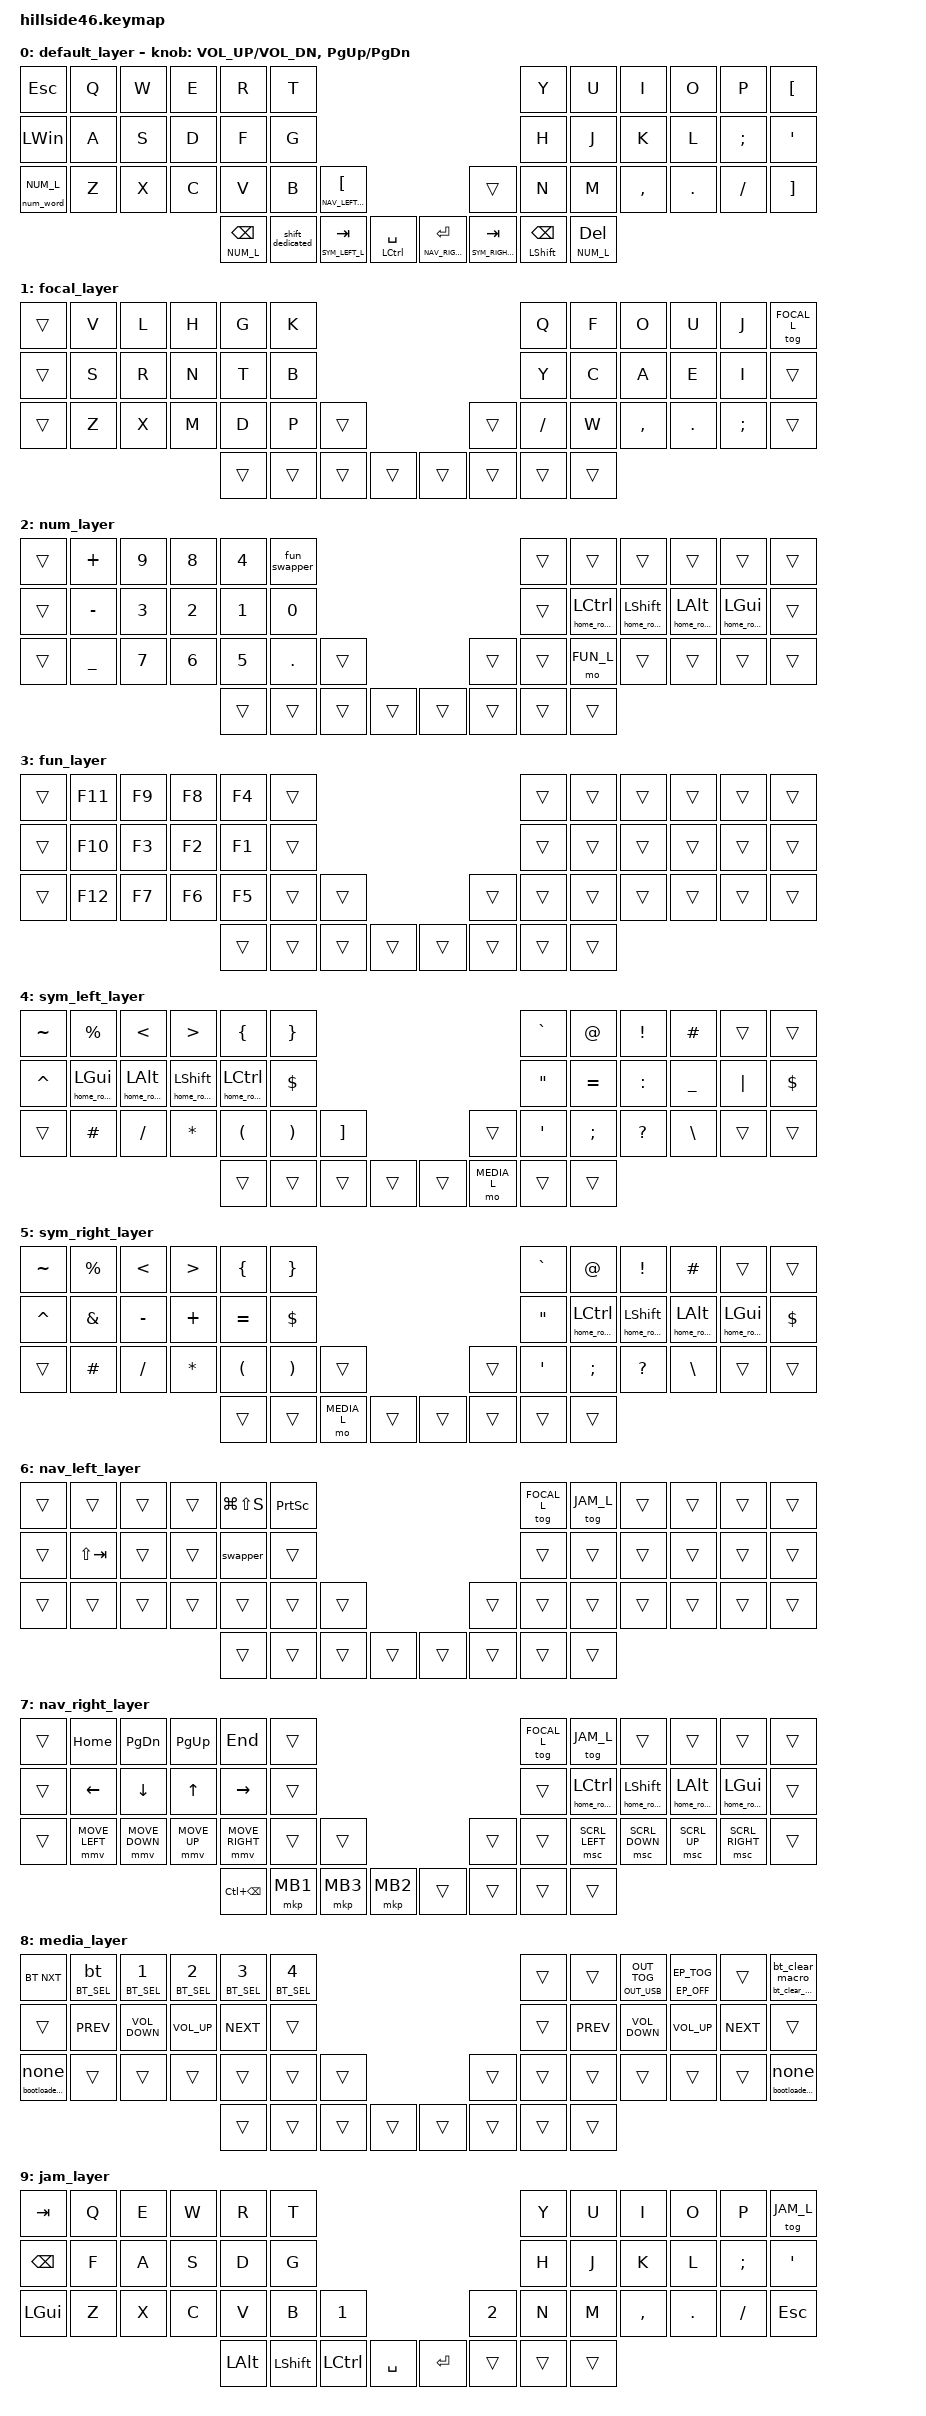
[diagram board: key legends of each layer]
/*
 * Copyright (c) 2021-2026 The ZMK Contributors
 *
 * SPDX-License-Identifier: MIT
 */

#include <dt-bindings/zmk/mouse.h>
#include <input/processors.dtsi>
#include <behaviors.dtsi>
#include <dt-bindings/zmk/bt.h>
#include <dt-bindings/zmk/ext_power.h>
#include <dt-bindings/zmk/keys.h>
#include <dt-bindings/zmk/outputs.h>
#include <dt-bindings/zmk/pointing.h>
#include <behaviors/num_word.dtsi>

#define QWERTY_L    0
#define FOCAL_L     1
#define NUM_L       2
#define FUN_L       3
#define SYM_LEFT_L  4
#define SYM_RIGHT_L 5
#define NAV_LEFT_L  6
#define NAV_RIGHT_L 7
#define MEDIA_L     8
#define JAM_L       9
#define Undo   LC(Z)
#define Cut    LC(X)
#define Copy   LC(C)
#define Paste  LC(V)
#define Redo   LC(Y)
#define DANGER_DELAY 3000

/ {
    behaviors {
        home_row_sticky: home_row_sticky {
            compatible = "zmk,behavior-sticky-key";
            label = "HOME_ROW_STICKY";
            bindings = <&kp>;
            #binding-cells = <1>;
            release-after-ms = <1000>;
            quick-release;
            ignore-modifiers;
        };

        shift_dedicated: shift_dedicated {
            compatible = "zmk,behavior-tap-dance";
            label = "SHIFT_DEDICATED";
            #binding-cells = <0>;
            bindings = <&sticky_shift LSHIFT>, <&caps_word>;
        };

        sticky_shift: sticky_shift {
            compatible = "zmk,behavior-sticky-key";
            label = "STICKY_SHIFT";
            bindings = <&sk>;
            #binding-cells = <1>;
            release-after-ms = <600>;
            quick-release;
            ignore-modifiers;
        };

        thumb_key_layer: thumb_key_layer {
            compatible = "zmk,behavior-hold-tap";
            label = "THUMB_KEY_LAYER";
            bindings = <&mo>, <&kp>;

            #binding-cells = <2>;
            tapping-term-ms = <250>;
            quick-tap-ms = <200>;
            require-prior-idle-ms = <30>;
        };

        thumb_key_mod: thumb_key_mod {
            compatible = "zmk,behavior-hold-tap";
            label = "THUMB_KEY_MOD";
            bindings = <&kp>, <&kp>;

            #binding-cells = <2>;
            tapping-term-ms = <250>;
            quick-tap-ms = <200>;
            require-prior-idle-ms = <0>;
            hold-while-undecided;
        };

        thumb_active_key_mod: thumb_active_key_mod {
            compatible = "zmk,behavior-hold-tap";
            label = "THUMB_ACTIVE_KEY_MOD";
            bindings = <&kp>, <&kp>;

            #binding-cells = <2>;
            tapping-term-ms = <250>;
            quick-tap-ms = <200>;
            require-prior-idle-ms = <30>;
            hold-while-undecided;
        };

        thumb_active_key_layer: thumb_active_key_layer {
            compatible = "zmk,behavior-hold-tap";
            label = "THUMB_ACTIVE_KEY_LAYER";
            bindings = <&mo>, <&kp>;

            #binding-cells = <2>;
            tapping-term-ms = <250>;
            quick-tap-ms = <200>;
            require-prior-idle-ms = <30>;
            hold-while-undecided;
        };

        swapper: swapper {
            compatible = "zmk,behavior-smart-toggle";
            #binding-cells = <0>;
            bindings = <&kp LALT>, <&kp TAB>;

            ignored-key-positions = <13>;
            // shift for both left and right symbol layers
        };

        fun_swapper: fun_swapper {
            compatible = "zmk,behavior-smart-toggle";
            #binding-cells = <0>;
            bindings = <&mo FUN_L>, <&none>;

            ignored-key-positions =
                <1>,
                <2>,
                <3>,
                <4>,
                <13>,
                <14>,
                <15>,
                <16>,
                <25>,
                <26>,
                <27>,
                <28>;

            // F-keys
        };

        bt_or_reset_hold: bt_or_reset_hold {
            compatible = "zmk,behavior-hold-tap";
            label = "BT_OR_RESET_HOLD";
            bindings = <&bt_clear_macro>, <&bt>;

            #binding-cells = <2>;
            tapping-term-ms = <DANGER_DELAY>;
            flavor = "tap-preferred";
        };

        bt_reset_hold: bt_reset_hold {
            compatible = "zmk,behavior-hold-tap";
            label = "BT_RESET_HOLD";
            bindings = <&bt_clear_all_macro>, <&bt_clear_macro>;

            #binding-cells = <2>;
            tapping-term-ms = <DANGER_DELAY>;
            flavor = "tap-preferred";
        };

        bootloader_reset_hold: bootloader_reset_hold {
            compatible = "zmk,behavior-hold-tap";
            label = "BOOTLOADER_RESET_HOLD";
            bindings = <&bootloader_reset_macro>, <&none>;

            #binding-cells = <2>;
            tapping-term-ms = <DANGER_DELAY>;
            flavor = "tap-preferred";
        };

        output_hold: output_hold {
            compatible = "zmk,behavior-hold-tap";
            label = "OUTPUT_HOLD";
            bindings = <&out>, <&out>;

            #binding-cells = <2>;
            flavor = "tap-preferred";
            tapping-term-ms = <DANGER_DELAY>;
        };

        ext_power_hold: ext_power_hold {
            compatible = "zmk,behavior-hold-tap";
            label = "EXT_POWER_HOLD";
            bindings = <&ext_power>, <&ext_power>;

            #binding-cells = <2>;
            tapping-term-ms = <DANGER_DELAY>;
            flavor = "tap-preferred";
        };
    };

    macros {
        bt_clear_macro: bt_clear_macro {
            compatible = "zmk,behavior-macro";
            #binding-cells = <0>;
            bindings = <&bt BT_CLR>;
            label = "BT_CLEAR_MACRO";
        };

        bt_clear_all_macro: bt_clear_all_macro {
            compatible = "zmk,behavior-macro";
            #binding-cells = <0>;
            bindings = <&bt BT_CLR_ALL>;
            label = "BT_CLEAR_ALL_MACRO";
        };

        sys_reset_macro: sys_reset_macro {
            compatible = "zmk,behavior-macro";
            #binding-cells = <0>;
            bindings = <&sys_reset>;
            label = "SYS_RESET_MACRO";
        };

        bootloader_reset_macro: bootloader_reset_macro {
            compatible = "zmk,behavior-macro";
            #binding-cells = <0>;
            bindings = <&bootloader>;
            label = "BOOTLOADER_RESET_MACRO";
        };
    };

    keymap {
        compatible = "zmk,keymap";

        default_layer {
            /* QWERTY
 * -------------------------------------------------------------------------------------------------------------------------------------
 * | `     |   Q   |   W   |   E   |   R   |   T   |-----------------------------------|   Y   |   U   |   I   |   O   |   P   | BKSPC |
 * | TAB   |   A   |   S   |   D   |   F   |   G   |-----------------------------------|   H   |   J   |   K   |   L   |   ;   | ENTER |
 * | CTRL  |   Z   |   X   |   C   |   V   |   B   |  ESC  |-------------------|  CAPS |   N   |   M   |   ,   |   .   |   /   |   '   |
 *                                 |  GUI  |  ALT  |SK SHFT|  Nav  |---|  Sym  | SPACE |  ALT  |  GUI  |
 */

            bindings = <
&kp ESCAPE             &kp Q  &kp W  &kp E  &kp R                             &kp T                                                                                                                                                                         &kp Y                            &kp U                      &kp I      &kp O    &kp P      &kp LEFT_BRACKET
&kp LEFT_WIN           &kp A  &kp S  &kp D  &kp F                             &kp G                                                                                                                                                                         &kp H                            &kp J                      &kp K      &kp L    &kp SEMI   &kp SQT
&num_word NUM_L        &kp Z  &kp X  &kp C  &kp V                             &kp B             &thumb_key_layer NAV_LEFT_L LEFT_BRACKET                                                                                  &trans                            &kp N                            &kp M                      &kp COMMA  &kp DOT  &kp SLASH  &kp RIGHT_BRACKET
                                            &thumb_key_layer NUM_L BACKSPACE  &shift_dedicated  &thumb_key_layer SYM_LEFT_L TAB           &thumb_active_key_mod LCTRL SPACE    &thumb_active_key_layer NAV_RIGHT_L ENTER  &thumb_key_layer SYM_RIGHT_L TAB  &thumb_key_mod LSHIFT BACKSPACE  &thumb_key_layer NUM_L DELETE
            >;

            sensor-bindings = <&inc_dec_kp C_VOL_UP C_VOL_DN &inc_dec_kp PG_UP PG_DN>;
        };

        focal_layer {
            bindings = <
&trans  &kp V  &kp L  &kp H  &kp G   &kp K                                     &kp Q     &kp F   &kp O      &kp U    &kp J     &tog FOCAL_L
&trans  &kp S  &kp R  &kp N  &kp T   &kp B                                     &kp Y     &kp C   &kp A      &kp E    &kp I     &trans
&trans  &kp Z  &kp X  &kp M  &kp D   &kp P   &trans                    &trans  &kp FSLH  &kp W   &kp COMMA  &kp DOT  &kp SEMI  &trans
                             &trans  &trans  &trans  &trans    &trans  &trans  &trans    &trans
            >;
        };

        num_layer {
            bindings = <
&trans  &kp PLUS        &kp N9  &kp N8  &kp N4  &fun_swapper                                    &trans  &trans                  &trans                  &trans                 &trans                 &trans
&trans  &kp MINUS       &kp N3  &kp N2  &kp N1  &kp N0                                          &trans  &home_row_sticky LCTRL  &home_row_sticky LSHFT  &home_row_sticky LALT  &home_row_sticky LGUI  &trans
&trans  &kp UNDERSCORE  &kp N7  &kp N6  &kp N5  &kp DOT       &trans                    &trans  &trans  &mo FUN_L               &trans                  &trans                 &trans                 &trans
                                        &trans  &trans        &trans  &trans    &trans  &trans  &trans  &trans
            >;
        };

        fun_layer {
            bindings = <
&trans  &kp F11  &kp F9  &kp F8  &kp F4  &trans                                    &trans  &trans  &trans  &trans  &trans  &trans
&trans  &kp F10  &kp F3  &kp F2  &kp F1  &trans                                    &trans  &trans  &trans  &trans  &trans  &trans
&trans  &kp F12  &kp F7  &kp F6  &kp F5  &trans  &trans                    &trans  &trans  &trans  &trans  &trans  &trans  &trans
                                 &trans  &trans  &trans  &trans    &trans  &trans  &trans  &trans
            >;
        };

        sym_left_layer {
            bindings = <
&kp TILDE  &kp PERCENT            &kp LT                 &kp GT                  &kp LEFT_BRACE          &kp RIGHT_BRACE                                                          &kp GRAVE          &kp AT         &kp EXCLAMATION  &kp HASH        &trans    &trans
&kp CARET  &home_row_sticky LGUI  &home_row_sticky LALT  &home_row_sticky LSHFT  &home_row_sticky LCTRL  &kp DOLLAR                                                               &kp DOUBLE_QUOTES  &kp EQUAL      &kp COLON        &kp UNDERSCORE  &kp PIPE  &kp DOLLAR
&trans     &kp HASH               &kp SLASH              &kp STAR                &kp LEFT_PARENTHESIS    &kp RIGHT_PARENTHESIS  &kp RIGHT_BRACKET                    &trans       &kp SQT            &kp SEMICOLON  &kp QUESTION     &kp BACKSLASH   &trans    &trans
                                                                                 &trans                  &trans                 &trans             &trans    &trans  &mo MEDIA_L  &trans             &trans
            >;
        };

        sym_right_layer {
            bindings = <
&kp TILDE  &kp PERCENT    &kp LT     &kp GT    &kp LEFT_BRACE        &kp RIGHT_BRACE                                               &kp GRAVE          &kp AT_SIGN             &kp EXCLAMATION          &kp HASH               &trans                 &trans
&kp CARET  &kp AMPERSAND  &kp MINUS  &kp PLUS  &kp EQUAL             &kp DOLLAR                                                    &kp DOUBLE_QUOTES  &home_row_sticky LCTRL  &home_row_sticky LSHIFT  &home_row_sticky LALT  &home_row_sticky LGUI  &kp DOLLAR
&trans     &kp HASH       &kp SLASH  &kp STAR  &kp LEFT_PARENTHESIS  &kp RIGHT_PARENTHESIS  &trans                         &trans  &kp SQT            &kp SEMICOLON           &kp QUESTION             &kp BACKSLASH          &trans                 &trans
                                               &trans                &trans                 &mo MEDIA_L  &trans    &trans  &trans  &trans             &trans
            >;
        };

        nav_left_layer {
            bindings = <
&trans  &trans       &trans  &trans  &kp LG(LS(S))  &kp PRINTSCREEN                                    &tog FOCAL_L  &tog JAM_L  &trans  &trans  &trans  &trans
&trans  &kp LS(TAB)  &trans  &trans  &swapper       &trans                                             &trans        &trans      &trans  &trans  &trans  &trans
&trans  &trans       &trans  &trans  &trans         &trans           &trans                    &trans  &trans        &trans      &trans  &trans  &trans  &trans
                                     &trans         &trans           &trans  &trans    &trans  &trans  &trans        &trans
            >;
        };

        nav_right_layer {
            bindings = <
&trans  &kp HOME        &kp PAGE_DOWN   &kp PAGE_UP   &kp END            &trans                                          &tog FOCAL_L  &tog JAM_L              &trans                   &trans                     &trans                 &trans
&trans  &kp LEFT        &kp DOWN        &kp UP        &kp RIGHT          &trans                                          &trans        &home_row_sticky LCTRL  &home_row_sticky LSHIFT  &home_row_sticky LEFT_ALT  &home_row_sticky LGUI  &trans
&trans  &mmv MOVE_LEFT  &mmv MOVE_DOWN  &mmv MOVE_UP  &mmv MOVE_RIGHT    &trans    &trans                        &trans  &trans        &msc SCRL_LEFT          &msc SCRL_DOWN           &msc SCRL_UP               &msc SCRL_RIGHT        &trans
                                                      &kp LC(BACKSPACE)  &mkp MB1  &mkp MB3  &mkp MB2    &trans  &trans  &trans        &trans
            >;
        };

        media_layer {
            bindings = <
&bt BT_NXT                  &bt_or_reset_hold BT_SEL 0  &bt_or_reset_hold BT_SEL 1  &bt_or_reset_hold BT_SEL 2  &bt_or_reset_hold BT_SEL 3  &bt_or_reset_hold BT_SEL 4                                    &trans  &trans      &output_hold OUT_USB OUT_TOG  &ext_power_hold EP_OFF EP_TOG  &trans      &bt_reset_hold 0 0
&trans                      &kp C_PREV                  &kp C_VOLUME_DOWN           &kp C_VOLUME_UP             &kp C_NEXT                  &trans                                                        &trans  &kp C_PREV  &kp C_VOLUME_DOWN             &kp C_VOLUME_UP                &kp C_NEXT  &trans
&bootloader_reset_hold 0 0  &trans                      &trans                      &trans                      &trans                      &trans                      &trans                    &trans  &trans  &trans      &trans                        &trans                         &trans      &bootloader_reset_hold 0 0
                                                                                                                &trans                      &trans                      &trans  &trans    &trans  &trans  &trans  &trans
            >;
        };

        jam_layer {
            bindings = <
&kp TAB   &kp Q  &kp E  &kp W  &kp R     &kp T                                                 &kp Y   &kp U   &kp I      &kp O    &kp P     &tog JAM_L
&kp BSPC  &kp F  &kp A  &kp S  &kp D     &kp G                                                 &kp H   &kp J   &kp K      &kp L    &kp SEMI  &kp APOS
&kp LGUI  &kp Z  &kp X  &kp C  &kp V     &kp B      &kp N1                             &kp N2  &kp N   &kp M   &kp COMMA  &kp DOT  &kp FSLH  &kp ESC
                               &kp LALT  &kp LSHFT  &kp LCTRL  &kp SPACE    &kp ENTER  &trans  &trans  &trans
            >;
        };
    };


        kscan: kscan {
        compatible = "zmk,kscan-gpio-matrix";
        diode-direction = "col2row";
        wakeup-source;
    };
};
